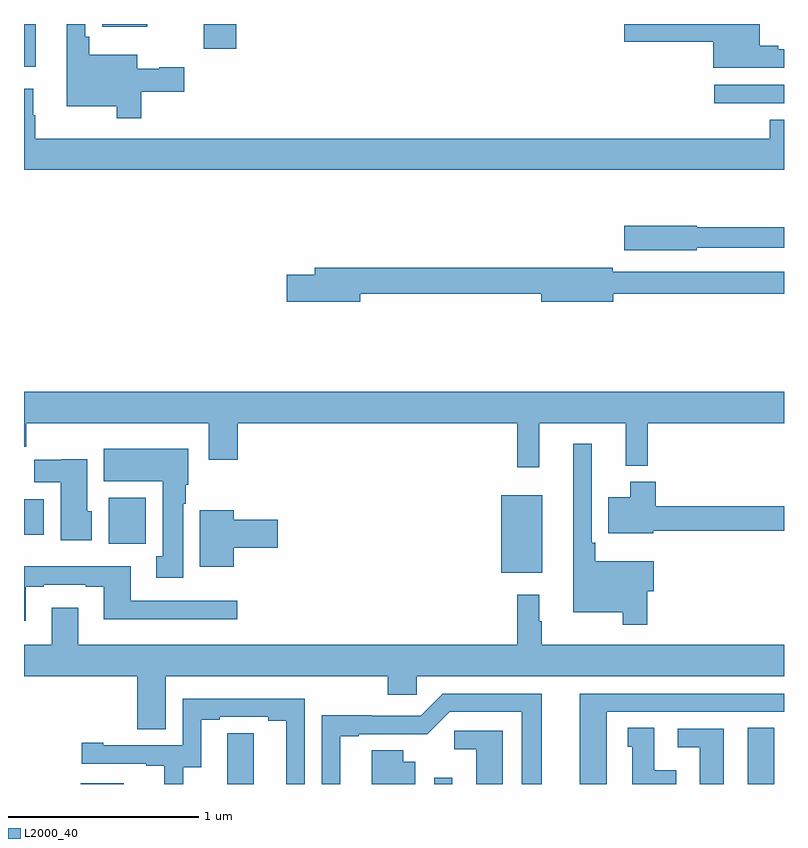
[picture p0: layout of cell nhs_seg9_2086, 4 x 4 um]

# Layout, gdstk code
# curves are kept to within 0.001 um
import gdstk
lib = gdstk.Library(unit=1e-6, precision=1e-09)
def R(c, l, rs):  # rectangles x0, y0, x1, y1
    for r in rs: c.add(gdstk.rectangle(r[:2], r[2:], *l))
def P(c, l, *ps):  # polygons
    for p in ps: c.add(gdstk.Polygon(p, *l))
L2000_40 = (2000, 40)

nhs_seg9_2086 = lib.new_cell('nhs_seg9_2086')
R(nhs_seg9_2086, L2000_40, [(229.298,1214.5,229.525,1214.503), (231.159,1214.5,231.255,1214.533), (232.808,1214.5,232.948,1214.795), (231.512,1215.611,231.727,1216.021), (229.445,1215.764,229.642,1216.006), (229,1215.812,229.105,1216), (232.632,1218.084,233,1218.18), (229,1218.275,229.063,1218.5), (229.946,1218.369,230.117,1218.5), (229.412,1218.485,229.648,1218.5)])
P(nhs_seg9_2086, L2000_40, [(233,1218.366),(232.969,1218.366),(232.969,1218.386),(232.873,1218.386),(232.873,1218.5),(232.158,1218.5),(232.158,1218.407),(232.628,1218.407),(232.628,1218.27),(233,1218.27)],
  [(229.616,1218.143),(229.843,1218.143),(229.843,1218.273),(229.712,1218.273),(229.712,1218.265),(229.597,1218.265),(229.597,1218.337),(229.343,1218.337),(229.343,1218.433),(229.323,1218.433),(229.323,1218.5),(229.226,1218.5),(229.226,1218.068),(229.488,1218.068),(229.488,1218.003),(229.616,1218.003)],
  [(233,1217.995),(232.925,1217.995),(232.925,1217.896),(229.06,1217.896),(229.06,1218.02),(229.048,1218.02),(229.048,1218.16),(229,1218.16),(229,1217.732),(233,1217.732)],
  [(232.542,1217.322),(233,1217.322),(233,1217.431),(232.542,1217.431),(232.542,1217.439),(232.158,1217.439),(232.158,1217.309),(232.542,1217.309)],
  [(230.77,1217.08),(231.722,1217.08),(231.722,1217.038),(232.102,1217.038),(232.102,1217.08),(233,1217.08),(233,1217.196),(232.098,1217.196),(232.098,1217.216),(230.531,1217.216),(230.531,1217.18),(230.382,1217.18),(230.382,1217.038),(230.77,1217.038)],
  [(231.713,1216.4),(232.166,1216.4),(232.166,1216.175),(232.283,1216.175),(232.283,1216.4),(233,1216.4),(233,1216.564),(229,1216.564),(229,1216.276),(229.013,1216.276),(229.013,1216.4),(229.973,1216.4),(229.973,1216.206),(230.126,1216.206),(230.126,1216.4),(231.595,1216.4),(231.595,1216.167),(231.713,1216.167)],
  [(232.28,1215.515),(232.315,1215.515),(232.315,1215.673),(232.007,1215.673),(232.007,1215.769),(231.987,1215.769),(231.987,1216.291),(231.89,1216.291),(231.89,1215.404),(232.152,1215.404),(232.152,1215.339),(232.28,1215.339)],
  [(229.837,1215.974),(229.852,1215.974),(229.852,1216.074),(229.864,1216.074),(229.864,1216.264),(229.421,1216.264),(229.421,1216.094),(229.73,1216.094),(229.73,1215.698),(229.697,1215.698),(229.697,1215.585),(229.837,1215.585)],
  [(229.357,1215.936),(229.333,1215.936),(229.333,1216.21),(229.197,1216.21),(229.197,1216.206),(229.054,1216.206),(229.054,1216.088),(229.193,1216.088),(229.193,1215.782),(229.357,1215.782)],
  [(232.312,1215.832),(233,1215.832),(233,1215.961),(232.325,1215.961),(232.325,1216.09),(232.19,1216.09),(232.19,1216.009),(232.076,1216.009),(232.076,1215.821),(232.312,1215.821)],
  [(230.104,1215.743),(230.335,1215.743),(230.335,1215.89),(230.104,1215.89),(230.104,1215.94),(229.925,1215.94),(229.925,1215.644),(230.104,1215.644)],
  [(229.009,1215.537),(229.105,1215.537),(229.105,1215.549),(229.325,1215.549),(229.325,1215.537),(229.421,1215.537),(229.421,1215.368),(230.122,1215.368),(230.122,1215.465),(229.561,1215.465),(229.561,1215.646),(229,1215.646),(229,1215.36),(229.009,1215.36)],
  [(229.747,1215.068),(230.915,1215.068),(230.915,1214.97),(231.066,1214.97),(231.066,1215.068),(233,1215.068),(233,1215.232),(231.724,1215.232),(231.724,1215.356),(231.712,1215.356),(231.712,1215.496),(231.595,1215.496),(231.595,1215.232),(229.285,1215.232),(229.285,1215.427),(229.145,1215.427),(229.145,1215.232),(229,1215.232),(229,1215.068),(229.595,1215.068),(229.595,1214.788),(229.747,1214.788)],
  [(230.665,1214.751),(230.761,1214.751),(230.761,1214.763),(231.122,1214.762),(231.24,1214.88),(231.62,1214.88),(231.62,1214.5),(231.724,1214.5),(231.724,1214.976),(231.204,1214.976),(231.087,1214.859),(230.831,1214.859),(230.831,1214.861),(230.568,1214.861),(230.568,1214.5),(230.665,1214.5)],
  [(232.066,1214.88),(233,1214.88),(233,1214.976),(231.926,1214.976),(231.926,1214.5),(232.066,1214.5)],
  [(229.839,1214.587),(229.933,1214.587),(229.933,1214.838),(230.029,1214.838),(230.029,1214.853),(230.285,1214.853),(230.285,1214.833),(230.381,1214.833),(230.381,1214.5),(230.478,1214.5),(230.478,1214.949),(229.836,1214.949),(229.836,1214.703),(229.417,1214.703),(229.417,1214.716),(229.305,1214.716),(229.305,1214.607),(229.643,1214.607),(229.643,1214.595),(229.739,1214.595),(229.739,1214.5),(229.839,1214.5)],
  [(232.432,1214.572),(232.318,1214.572),(232.318,1214.795),(232.178,1214.795),(232.178,1214.697),(232.202,1214.697),(232.202,1214.5),(232.432,1214.5)],
  [(232.684,1214.79),(232.44,1214.79),(232.44,1214.694),(232.556,1214.694),(232.556,1214.5),(232.684,1214.5)],
  [(231.52,1214.781),(231.264,1214.781),(231.264,1214.684),(231.38,1214.684),(231.38,1214.5),(231.52,1214.5)],
  [(230.209,1214.768),(230.07,1214.768),(230.07,1214.66),(230.069,1214.66),(230.069,1214.5),(230.209,1214.5)],
  [(231.058,1214.617),(230.995,1214.617),(230.995,1214.678),(230.831,1214.678),(230.831,1214.5),(231.058,1214.5)])

lib.write_gds('nhs_seg9_2086.gds')
